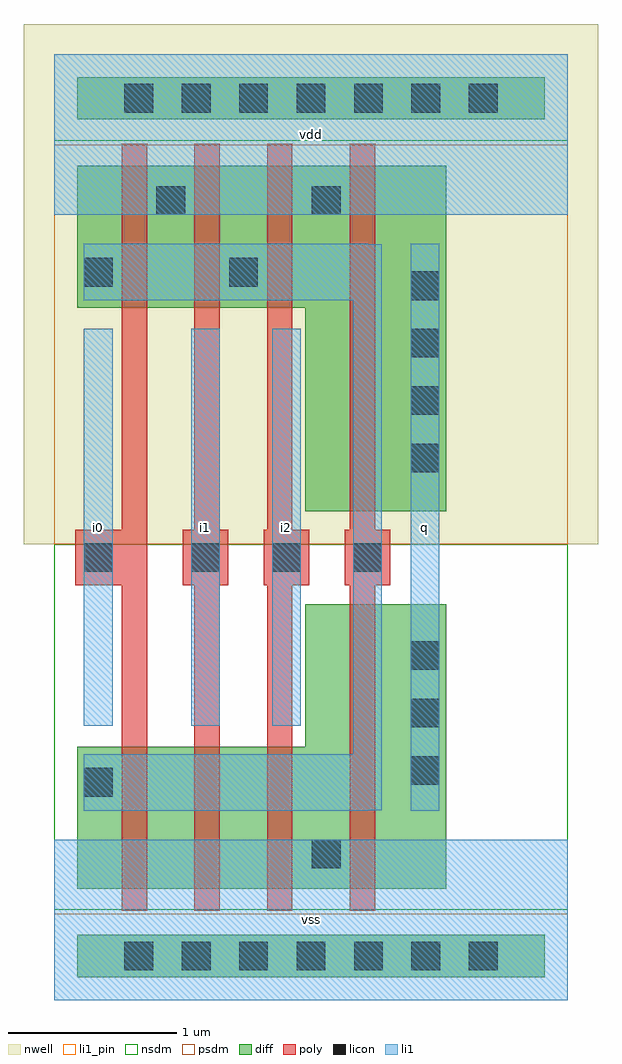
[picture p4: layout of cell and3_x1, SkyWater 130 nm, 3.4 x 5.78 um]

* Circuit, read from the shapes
.subckt and3_x1 i0 i1 i2 q vdd vss
XM1 n1 i0 n2 VSUBS sky130_fd_pr__nfet_01v8 w=0.84 l=0.15
XM2 n3 i1 n1 VSUBS sky130_fd_pr__nfet_01v8 w=0.84 l=0.15
XM3 vss i2 n3 VSUBS sky130_fd_pr__nfet_01v8 w=0.84 l=0.15
XM4 q n2 vss VSUBS sky130_fd_pr__nfet_01v8 w=1.685 l=0.15
XM5 vdd i0 n2 n4 sky130_fd_pr__pfet_01v8 w=0.84 l=0.15
XM6 n2 i1 vdd n4 sky130_fd_pr__pfet_01v8 w=0.84 l=0.15
XM7 vdd i2 n2 n4 sky130_fd_pr__pfet_01v8 w=0.84 l=0.15
XM8 q n2 vdd n4 sky130_fd_pr__pfet_01v8 w=2.045 l=0.15
.ends

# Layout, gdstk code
import gdstk
lib = gdstk.Library(unit=1e-6, precision=1e-09)
def R(c, l, rs):  # rectangles x0, y0, x1, y1
    for r in rs: c.add(gdstk.rectangle(r[:2], r[2:], *l))
def A(c, l, x, y, w, h, nx, ny, dx, dy):  # array of equal rectangles
    R(c, l, [(x+i*dx, y+j*dy, x+i*dx+w, y+j*dy+h) for i in range(nx) for j in range(ny)])
def P(c, l, *ps):  # polygons
    for p in ps: c.add(gdstk.Polygon(p, *l))
nwell = (64, 20)
diff = (65, 20)
poly = (66, 20)
licon = (66, 44)
li1_pin = (67, 16)
li1 = (67, 20)
nsdm = (93, 44)
psdm = (94, 20)

and3_x1 = lib.new_cell('and3_x1')
R(and3_x1, nwell, [(-0.18,2.7,3.22,5.78)])
R(and3_x1, diff, [(0.135,0.135,2.905,0.385), (0.135,5.215,2.905,5.465)])
P(and3_x1, diff, [(0.135,0.66),(0.135,1.5),(1.485,1.5),(1.485,2.345),(2.32,2.345),(2.32,0.66)],
  [(1.485,2.895),(1.485,4.1),(0.135,4.1),(0.135,4.94),(2.32,4.94),(2.32,2.895)])
P(and3_x1, poly, [(1.75,0.53),(1.75,2.455),(1.72,2.455),(1.72,2.785),(1.75,2.785),(1.75,5.07),(1.9,5.07),(1.9,2.785),(1.99,2.785),(1.99,2.455),(1.9,2.455),(1.9,0.53)],
  [(0.4,0.53),(0.4,2.455),(0.125,2.455),(0.125,2.785),(0.4,2.785),(0.4,5.07),(0.55,5.07),(0.55,0.53)],
  [(0.83,0.53),(0.83,2.455),(0.76,2.455),(0.76,2.785),(0.83,2.785),(0.83,5.07),(0.98,5.07),(0.98,2.785),(1.03,2.785),(1.03,2.455),(0.98,2.455),(0.98,0.53)],
  [(1.26,0.53),(1.26,2.455),(1.24,2.455),(1.24,2.785),(1.26,2.785),(1.26,5.07),(1.41,5.07),(1.41,2.785),(1.51,2.785),(1.51,2.455),(1.41,2.455),(1.41,0.53)])
A(and3_x1, licon, 0.415, 0.175, 0.17, 0.17, 7, 2, 0.34, 5.08)
A(and3_x1, licon, 2.11, 1.275, 0.17, 0.17, 1, 3, 0, 0.34)
A(and3_x1, licon, 0.81, 2.535, 0.17, 0.17, 3, 1, 0.48, 0)
A(and3_x1, licon, 2.11, 3.125, 0.17, 0.17, 1, 4, 0, 0.34)
R(and3_x1, licon, [(1.525,0.78,1.695,0.95), (0.175,1.205,0.345,1.375), (0.175,2.535,0.345,2.705), (0.175,4.225,0.345,4.395), (1.035,4.225,1.205,4.395), (0.605,4.65,0.775,4.82), (1.525,4.65,1.695,4.82)])
R(and3_x1, li1_pin, [(0,0,3.04,0.95), (2.11,1.12,2.28,4.48), (0.175,1.625,0.345,3.975), (0.81,1.625,0.98,3.975), (1.29,1.625,1.46,3.975), (0,4.65,3.04,5.6)])
R(and3_x1, li1, [(0,0,3.04,0.95), (2.11,1.12,2.28,4.48), (0.175,1.625,0.345,3.975), (0.81,1.625,0.98,3.975), (1.29,1.625,1.46,3.975), (0,4.65,3.04,5.6)])
P(and3_x1, li1, [(0.175,1.12),(0.175,1.455),(1.77,1.455),(1.77,4.145),(0.175,4.145),(0.175,4.48),(1.855,4.48),(1.855,4.475),(1.94,4.475),(1.94,1.125),(1.855,1.125),(1.855,1.12)])
R(and3_x1, nsdm, [(0,0.535,3.04,2.7), (0,5.09,3.04,5.6)])
R(and3_x1, psdm, [(0,0,3.04,0.51), (0,2.7,3.04,5.065)])
and3_x1.add(gdstk.Label('vdd', (1.52,5.125), layer=67, texttype=16))
and3_x1.add(gdstk.Label('vss', (1.52,0.475), layer=67, texttype=16))
and3_x1.add(gdstk.Label('i0', (0.26,2.8), layer=67, texttype=16))
and3_x1.add(gdstk.Label('i1', (0.895,2.8), layer=67, texttype=16))
and3_x1.add(gdstk.Label('i2', (1.375,2.8), layer=67, texttype=16))
and3_x1.add(gdstk.Label('q', (2.195,2.8), layer=67, texttype=16))

lib.write_gds('and3_x1.gds')
